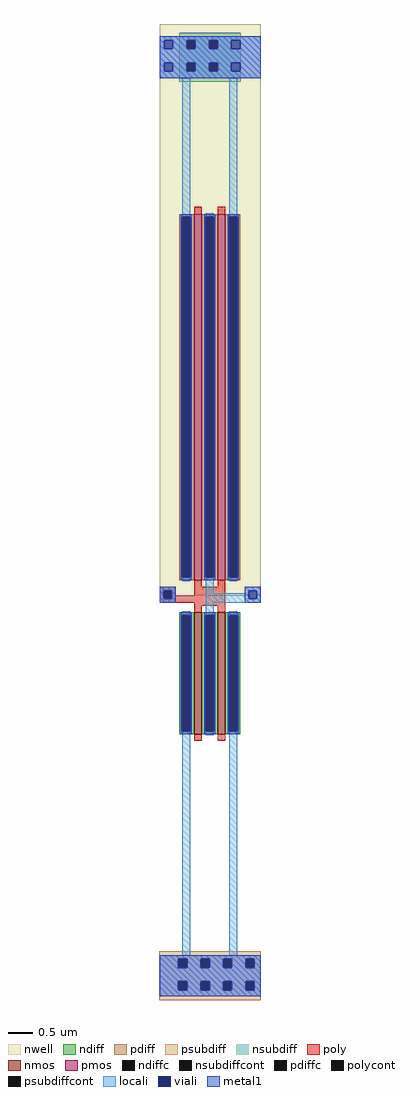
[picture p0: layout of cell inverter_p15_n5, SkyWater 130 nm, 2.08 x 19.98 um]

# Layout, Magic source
magic
tech sky130A
magscale 1 2
<< nwell >>
rect -80 656 334 2996
<< psubdiff >>
rect -82 -832 334 -800
rect -82 -868 -4 -832
rect 32 -868 88 -832
rect 124 -868 180 -832
rect 216 -868 272 -832
rect 308 -868 334 -832
rect -82 -924 334 -868
rect -82 -960 -4 -924
rect 32 -960 88 -924
rect 124 -960 180 -924
rect 216 -960 272 -924
rect 308 -960 334 -924
rect -82 -1000 334 -960
<< nsubdiff >>
rect 0 2930 252 2960
rect 0 2894 30 2930
rect 66 2894 122 2930
rect 158 2894 252 2930
rect 0 2838 252 2894
rect 0 2802 30 2838
rect 66 2802 122 2838
rect 158 2802 252 2838
rect 0 2760 252 2802
<< psubdiffcont >>
rect -4 -868 32 -832
rect 88 -868 124 -832
rect 180 -868 216 -832
rect 272 -868 308 -832
rect -4 -960 32 -924
rect 88 -960 124 -924
rect 180 -960 216 -924
rect 272 -960 308 -924
<< nsubdiffcont >>
rect 30 2894 66 2930
rect 122 2894 158 2930
rect 30 2802 66 2838
rect 122 2802 158 2838
<< poly >>
rect -80 676 -14 692
rect -80 642 -64 676
rect -30 656 -14 676
rect 62 656 188 662
rect -30 644 188 656
rect -30 642 62 644
rect -80 626 62 642
<< polycont >>
rect -64 642 -30 676
<< locali >>
rect -80 2930 334 2946
rect -80 2894 -62 2930
rect -26 2894 30 2930
rect 66 2894 122 2930
rect 158 2894 214 2930
rect 250 2894 334 2930
rect -80 2838 334 2894
rect -80 2802 -62 2838
rect -26 2802 30 2838
rect 66 2802 122 2838
rect 158 2802 214 2838
rect 250 2802 334 2838
rect -80 2774 334 2802
rect 12 2222 46 2774
rect 204 2222 238 2774
rect -80 676 -14 692
rect -80 642 -64 676
rect -30 642 -14 676
rect -80 626 -14 642
rect 108 666 142 714
rect 268 676 334 692
rect 268 666 284 676
rect 108 642 284 666
rect 318 642 334 676
rect 108 626 334 642
rect 108 592 142 626
rect 12 -816 46 84
rect 204 -816 238 84
rect -80 -832 334 -816
rect -80 -868 -4 -832
rect 32 -868 88 -832
rect 124 -868 180 -832
rect 216 -868 272 -832
rect 308 -868 334 -832
rect -80 -924 334 -868
rect -80 -960 -4 -924
rect 32 -960 88 -924
rect 124 -960 180 -924
rect 216 -960 272 -924
rect 308 -960 334 -924
rect -80 -984 334 -960
<< viali >>
rect -62 2894 -26 2930
rect 30 2894 66 2930
rect 122 2894 158 2930
rect 214 2894 250 2930
rect -62 2802 -26 2838
rect 30 2802 66 2838
rect 122 2802 158 2838
rect 214 2802 250 2838
rect -64 642 -30 676
rect 284 642 318 676
rect -4 -868 32 -832
rect 88 -868 124 -832
rect 180 -868 216 -832
rect 272 -868 308 -832
rect -4 -960 32 -924
rect 88 -960 124 -924
rect 180 -960 216 -924
rect 272 -960 308 -924
<< metal1 >>
rect -80 2930 334 2946
rect -80 2894 -62 2930
rect -26 2894 30 2930
rect 66 2894 122 2930
rect 158 2894 214 2930
rect 250 2894 334 2930
rect -80 2838 334 2894
rect -80 2802 -62 2838
rect -26 2802 30 2838
rect 66 2802 122 2838
rect 158 2802 214 2838
rect 250 2802 334 2838
rect -80 2774 334 2802
rect -80 676 -14 692
rect -80 642 -64 676
rect -30 642 -14 676
rect -80 626 -14 642
rect 268 676 334 692
rect 268 642 284 676
rect 318 642 334 676
rect 268 626 334 642
rect -80 -832 334 -816
rect -80 -868 -4 -832
rect 32 -868 88 -832
rect 124 -868 180 -832
rect 216 -868 272 -832
rect 308 -868 334 -832
rect -80 -924 334 -868
rect -80 -960 -4 -924
rect 32 -960 88 -924
rect 124 -960 180 -924
rect 216 -960 272 -924
rect 308 -960 334 -924
rect -80 -984 334 -960
use sky130_fd_pr__nfet_01v8_V2VUT3  sky130_fd_pr__nfet_01v8_V2VUT3_0
transform 1 0 125 0 1 338
box -125 -276 125 306
use sky130_fd_pr__pfet_01v8_7QKTNL  sky130_fd_pr__pfet_01v8_7QKTNL_0
transform 1 0 125 0 1 1468
box -161 -812 161 812
<< end >>

# cell sky130_fd_pr__nfet_01v8_V2VUT3: kit device sky130_fd_pr__nfet_01v8, w 2.5 l 0.150 m 1 nf 2 diffcov 100 polycov 100 guard 0 glc 1 grc 1 gtc 1 gbc 1 tbcov 100 rlcov 100 topc 0 botc 0 poverlap 0 doverlap 1 lmin 0.15 wmin 0.42 class mosfet compatible {sky130_fd_pr__nfet_01v8 sky130_fd_pr__nfet_01v8_lvt sky130_fd_bs_flash__special_sonosfet_star sky130_fd_pr__nfet_g5v0d10v5 sky130_fd_pr__nfet_05v0_nvt sky130_fd_pr__nfet_03v3_nvt} full_metal 0 viasrc 100 viadrn 100 viagate 100 viagb 0 viagr 0 viagl 0 viagt 0

# cell sky130_fd_pr__pfet_01v8_7QKTNL: kit device sky130_fd_pr__pfet_01v8, w 7.5 l 0.15 m 1 nf 2 diffcov 100 polycov 100 guard 0 glc 1 grc 1 gtc 1 gbc 1 tbcov 100 rlcov 100 topc 0 botc 0 poverlap 0 doverlap 1 lmin 0.15 wmin 0.42 class mosfet compatible {sky130_fd_pr__pfet_01v8 sky130_fd_pr__pfet_01v8_lvt sky130_fd_pr__pfet_01v8_hvt sky130_fd_pr__pfet_g5v0d10v5} full_metal 0 viasrc 100 viadrn 100 viagate 100 viagb 0 viagr 0 viagl 0 viagt 0
